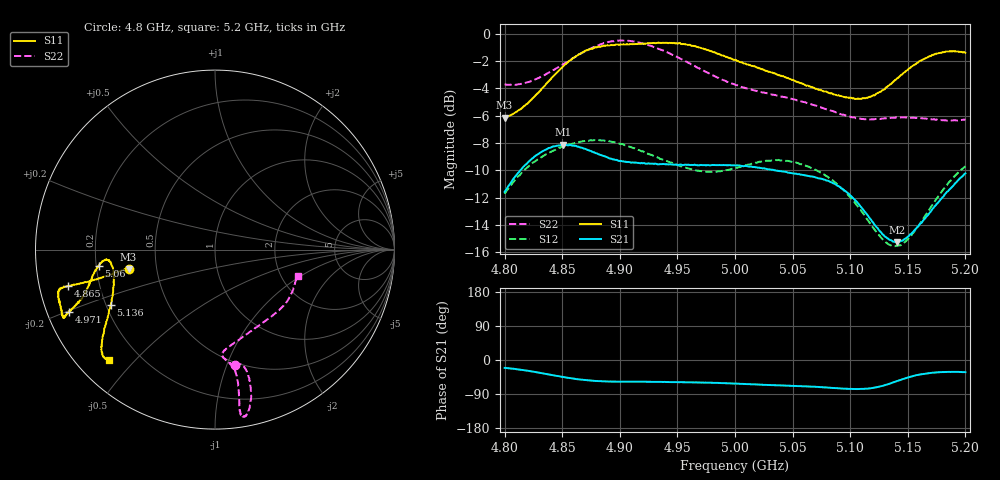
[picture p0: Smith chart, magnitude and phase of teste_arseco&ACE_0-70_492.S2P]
! Network Analyzer HP8722D
! Hewlett-Packard
! Data name: Linha & Wilkinson
! Saver's name: Rodrigo Anjos
! Comments: Teste da utilização de aquisição
! continua pelo VNA HP8722D
! Time and date: 8/5/2025 16:51
!  Frequency  S11  S21  S12  S22
# HZ  S  MA R 50
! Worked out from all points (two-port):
!   401 points, 4.8 GHz to 5.2 GHz, reference 50 ohm
!   highest |S21| = -8.13 dB at 4.851 GHz (marker M1); lowest = -15.2 dB at 5.141 GHz (marker M2)
!   |S21| within 3 dB of the highest: 4.803 GHz to 5.089 GHz (285.7 MHz wide, 5.78 % of centre); 5.189356 GHz to end of sweep
!   lowest |S11| = -6.1 dB at 4.8 GHz (marker M3), VSWR 2.95, Z = 17.1 - j4.91 ohm
!   |S11| at or under -10 dB: nowhere
!   |S22| runs from -6.4 to -0.5 dB; largest |S21 - S12| = 0.62
!   S11 on the Smith chart (normalised r, x): 4.8 GHz: 0.34, -0.10; 4.865 GHz: 0.09, -0.12; 4.971 GHz: 0.06, -0.21; 5.06 GHz: 0.21, -0.07; 5.136 GHz: 0.22, -0.24; 5.2 GHz: 0.09, -0.42
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4.8e9  0.4935 -167.3  0.2641 -20.9  0.26 -142.1  0.6523 -80.1
4.821e9  0.5618 -167.1  0.3409 -28.9  0.3279 -145.3  0.666 -76.5
4.851e9  0.7611 -165.9  0.3924 -44.9  0.3868 -150.8  0.7741 -75.3
4.865e9  0.8423 -166.1  0.3847 -51.3  0.402 -152.9  0.8405 -76.1
4.867e9  0.8516 -166.0  0.3828 -52.1  0.4033 -153.2  0.8505 -76.3
4.88e9  0.8911 -165.8  0.365 -55.6  0.408 -155.1  0.9042 -77.6
4.898e9  0.913 -163.2  0.3442 -57.0  0.3982 -157.2  0.9433 -79.8
4.915e9  0.9165 -159.7  0.3371 -57.3  0.3776 -157.6  0.9306 -81.2
4.934e9  0.9267 -156.8  0.3329 -57.8  0.3511 -156.0  0.8786 -81.2
4.971e9  0.8853 -156.7  0.3307 -59.6  0.3141 -146.9  0.7389 -80.2
5e9  0.8031 -159.5  0.3301 -62.4  0.3223 -137.7  0.6507 -81.9
5.038e9  0.7053 -166.6  0.3146 -66.9  0.3456 -135.5  0.5916 -86.3
5.06e9  0.653 -172.2  0.3037 -69.2  0.3313 -137.2  0.5623 -84.4
5.067e9  0.6372 -173.4  0.3005 -70.2  0.322 -137.8  0.5502 -82.6
5.098e9  0.5836 -172.5  0.2611 -76.1  0.2581 -139.7  0.4993 -67.7
5.114e9  0.5825 -165.4  0.2197 -75.8  0.2114 -136.1  0.4865 -56.4
5.134e9  0.6481 -153.1  0.1764 -62.7  0.1691 -118.3  0.4911 -42.8
5.136e9  0.6581 -152.0  0.1753 -60.7  0.1676 -115.9  0.4922 -41.4
5.141e9  0.688 -149.3  0.173 -55.2  0.1675 -109.2  0.4932 -38.8
5.153e9  0.7562 -144.6  0.1852 -43.6  0.1825 -94.5  0.493 -32.5
5.173e9  0.8387 -138.9  0.2326 -33.3  0.2419 -80.8  0.4863 -24.2
5.2e9  0.8514 -133.9  0.3083 -32.1  0.3273 -77.7  0.4851 -17.9
